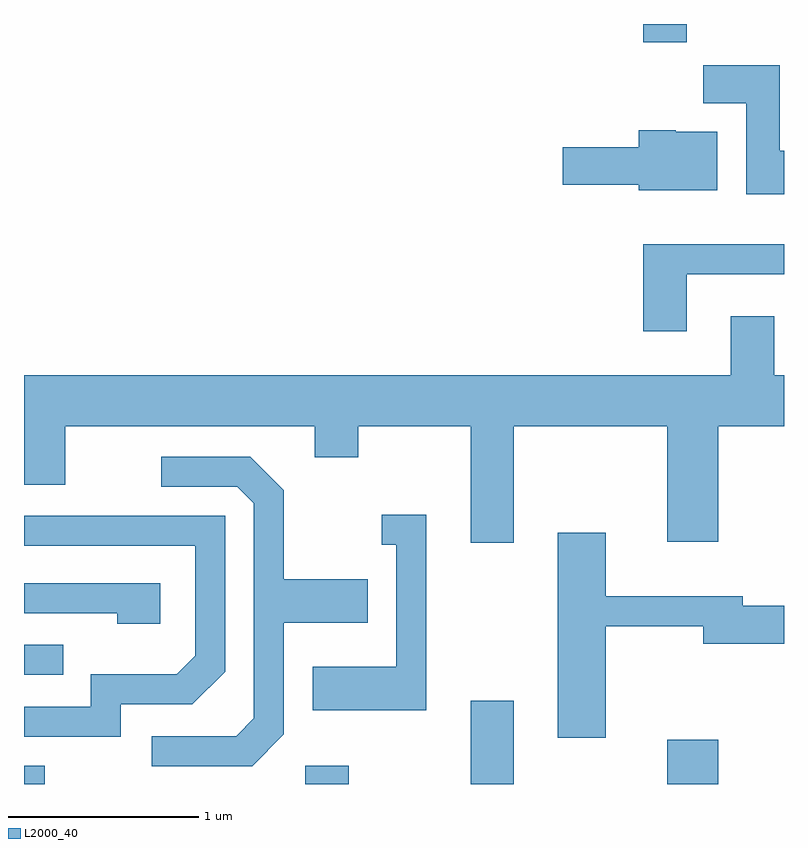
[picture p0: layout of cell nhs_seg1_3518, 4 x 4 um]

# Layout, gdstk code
import gdstk
lib = gdstk.Library(unit=1e-6, precision=1e-09)
def R(c, l, rs):  # rectangles x0, y0, x1, y1
    for r in rs: c.add(gdstk.rectangle(r[:2], r[2:], *l))
def P(c, l, *ps):  # polygons
    for p in ps: c.add(gdstk.Polygon(p, *l))
L2000_40 = (2000, 40)

nhs_seg1_3518 = lib.new_cell('nhs_seg1_3518')
R(nhs_seg1_3518, L2000_40, [(291.611,877.712,291.719,877.809), (293.091,877.712,293.319,877.809), (293.961,877.712,294.189,878.149), (294.996,877.712,295.264,877.944), (291.611,878.286,291.818,878.444), (294.871,881.616,295.099,881.712)])
P(nhs_seg1_3518, L2000_40, [(295.611,881.044),(295.589,881.044),(295.589,881.494),(295.186,881.494),(295.186,881.296),(295.411,881.296),(295.411,880.816),(295.611,880.816)],
  [(295.259,881.144),(295.04,881.144),(295.04,881.154),(294.846,881.154),(294.846,881.064),(294.446,881.064),(294.446,880.866),(294.846,880.866),(294.846,880.836),(295.259,880.836)],
  [(295.099,880.396),(295.611,880.396),(295.611,880.554),(294.871,880.554),(294.871,880.096),(295.099,880.096)],
  [(294.189,879.596),(294.996,879.596),(294.996,878.986),(295.264,878.986),(295.264,879.596),(295.611,879.596),(295.611,879.864),(295.559,879.864),(295.559,880.174),(295.331,880.174),(295.331,879.864),(291.611,879.864),(291.611,879.286),(291.829,879.286),(291.829,879.596),(293.141,879.596),(293.141,879.431),(293.369,879.431),(293.369,879.596),(293.961,879.596),(293.961,878.981),(294.189,878.981)],
  [(292.979,877.974),(292.979,878.561),(293.419,878.561),(293.419,878.789),(292.979,878.789),(292.979,879.257),(292.802,879.434),(292.333,879.434),(292.333,879.276),(292.734,879.276),(292.821,879.189),(292.821,878.057),(292.729,877.964),(292.283,877.964),(292.283,877.806),(292.812,877.806)],
  [(293.729,879.129),(293.493,879.129),(293.493,878.971),(293.571,878.971),(293.571,878.329),(293.131,878.329),(293.131,878.101),(293.729,878.101)],
  [(292.119,878.131),(292.497,878.131),(292.669,878.304),(292.669,879.124),(291.611,879.124),(291.611,878.966),(292.511,878.966),(292.511,878.387),(292.414,878.289),(291.961,878.289),(291.961,878.119),(291.611,878.119),(291.611,877.961),(292.119,877.961)],
  [(294.674,878.541),(295.186,878.541),(295.186,878.451),(295.611,878.451),(295.611,878.649),(295.394,878.649),(295.394,878.699),(294.674,878.699),(294.674,879.034),(294.421,879.034),(294.421,877.956),(294.674,877.956)],
  [(292.329,878.769),(291.611,878.769),(291.611,878.611),(292.101,878.611),(292.101,878.556),(292.329,878.556)])

lib.write_gds('nhs_seg1_3518.gds')
